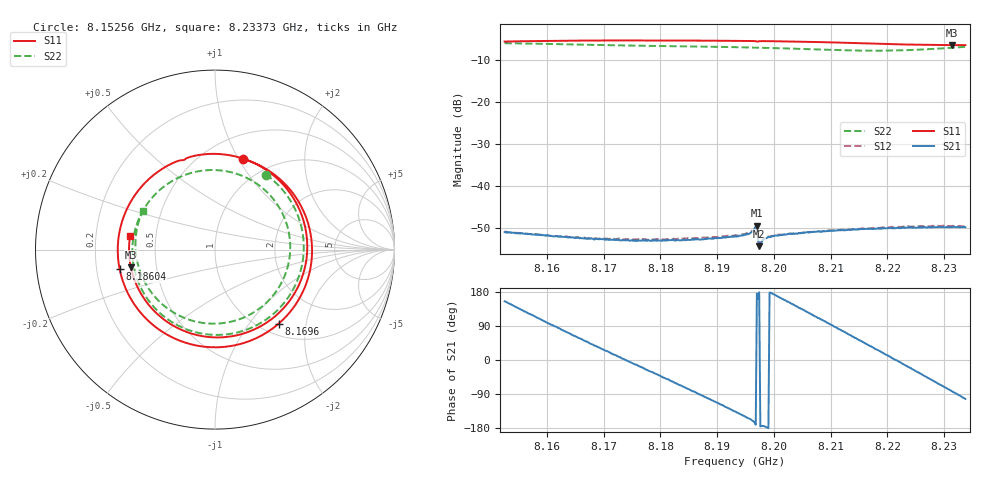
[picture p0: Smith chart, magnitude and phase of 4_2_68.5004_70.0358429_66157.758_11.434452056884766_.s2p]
#  HZ  S  RI  R  50.00
! Rohde & Schwarz Vector Network Analyzer
! Rohde-Schwarz,ZNB20-2Port,1311601062101988,3.16
! Created: UTC 3/20/2024, 5:03:53 PM
! freq[Hz]  re:S11  im:S11  re:S21  im:S21  re:S12  im:S12  re:S22  im:S22
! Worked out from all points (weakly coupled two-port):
!   401 points, 8.15256 GHz to 8.23373 GHz, reference 50 ohm
!   highest |S21| = -49.44 dB at 8.197 GHz (marker M1); lowest = -54.3 dB at 8.19741 GHz (marker M2)
!   lowest |S11| = -6.4 dB at 8.2313 GHz (marker M3), VSWR 2.84, Z = 17.8 - j4.53 ohm
!   |S11| at or under -10 dB: nowhere
!   |S22| runs from -7.7 to -5.9 dB; largest |S21 - S12| = 0.00026
!   S11 on the Smith chart (normalised r, x): 8.15256 GHz: 0.75, +1.04; 8.1696 GHz: 1.20, -1.41; 8.18604 GHz: 0.30, -0.09; 8.23373 GHz: 0.35, +0.07
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8.152557e9  0.1563 0.5047  -0.00257 0.0012  -0.00261 0.00121  0.283 0.4183
8.156413e9  0.3791 0.3763  -0.00159 0.0022  -0.0016 0.00219  0.4399 0.238
8.159863e9  0.5056 0.1847  -0.000448 0.00255  -0.000462 0.00253  0.494 0.035
8.166154e9  0.4931 -0.2272  0.00137 0.00196  0.00138 0.00197  0.3727 -0.3115
8.169604e9  0.3547 -0.4124  0.00202 0.00116  0.00206 0.0012  0.2119 -0.4312
8.174677e9  0.0411 -0.5428  0.00222 -0.000226  0.00232 -0.000219  -0.0733 -0.4677
8.179751e9  -0.2913 -0.4593  0.00171 -0.00147  0.00176 -0.00155  -0.324 -0.3367
8.186041e9  -0.5313 -0.1084  0.000226 -0.00232  0.000188 -0.0024  -0.4606 -0.0222
8.189491e9  -0.525 0.1306  -0.000793 -0.00225  -0.000841 -0.00232  -0.4264 0.1654
8.193144e9  -0.4059 0.3547  -0.0018 -0.00176  -0.00195 -0.00174  -0.31 0.3302
8.196594e9  -0.2066 0.4936  -0.00299 -0.000786  -0.00307 -0.000662  -0.1425 0.4243
8.197e9  -0.1779 0.4981  -0.00336 0.000275  -0.00339 0.000455  -0.1204 0.4303
8.197406e9  -0.1595 0.5086  -0.00193 4.74e-05  -0.00198 0.000136  -0.0983 0.4355
8.20187e9  0.1536 0.5081  -0.00247 0.000996  -0.00241 0.00111  0.1513 0.411
8.206741e9  0.4251 0.3049  -0.0014 0.00247  -0.00136 0.00251  0.3616 0.228
8.209988e9  0.5086 0.0911  -0.000193 0.00296  -0.000115 0.00295  0.4184 0.0439
8.213235e9  0.4901 -0.139  0.00118 0.00279  0.00126 0.00279  0.3864 -0.1512
8.21709e9  0.339 -0.3682  0.00251 0.00183  0.00262 0.00178  0.2337 -0.3382
8.220337e9  0.1318 -0.475  0.00313 0.000532  0.0032 0.000382  0.036 -0.4105
8.225411e9  -0.2241 -0.4288  0.00272 -0.00173  0.00273 -0.00192  -0.2837 -0.3128
8.231296e9  -0.4688 -0.0981  0.000468 -0.00322  0.000295 -0.00335  -0.4428 0.0498
8.233731e9  -0.4735 0.0751  -0.000717 -0.00317  -0.0009 -0.00318  -0.4029 0.2158
